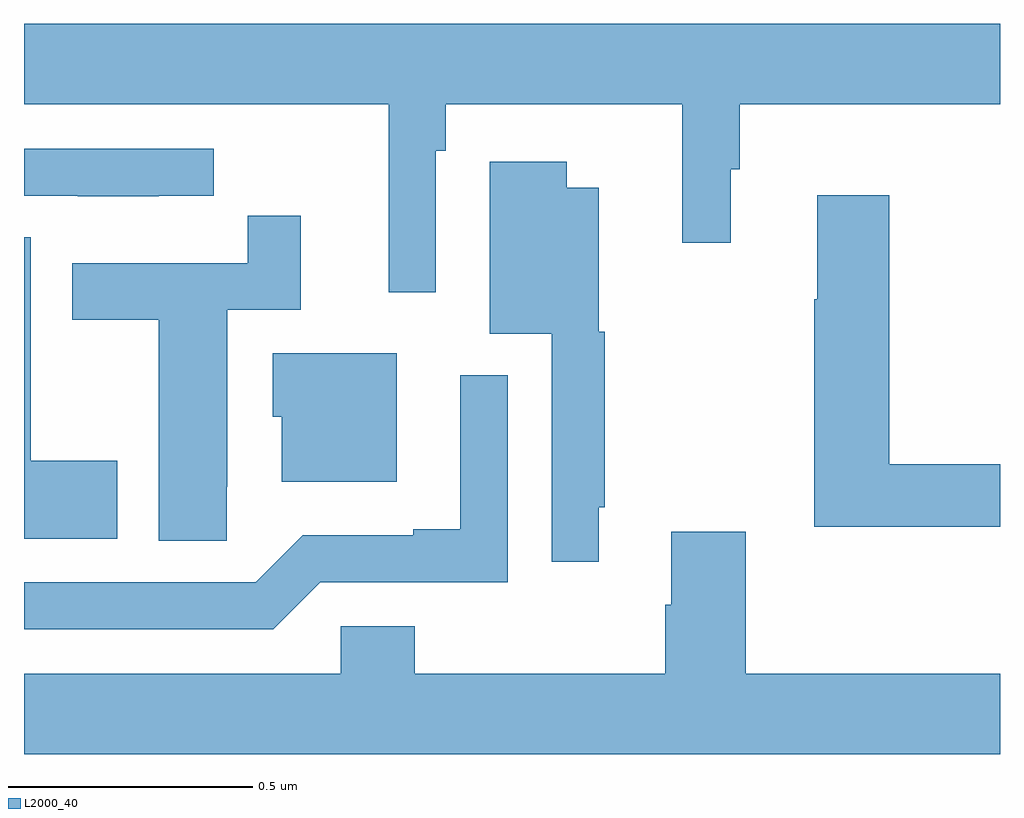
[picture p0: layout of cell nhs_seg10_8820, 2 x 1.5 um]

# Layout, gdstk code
import gdstk
lib = gdstk.Library(unit=1e-6, precision=1e-09)
def P(c, l, *ps):  # polygons
    for p in ps: c.add(gdstk.Polygon(p, *l))
L2000_40 = (2000, 40)

nhs_seg10_8820 = lib.new_cell('nhs_seg10_8820')
P(nhs_seg10_8820, L2000_40, [(221.844,1314.872),(221.864,1314.872),(221.864,1314.968),(222.349,1314.968),(222.349,1314.684),(222.448,1314.684),(222.448,1314.834),(222.467,1314.834),(222.467,1314.968),(223,1314.968),(223,1315.132),(221,1315.132),(221,1314.968),(221.747,1314.968),(221.747,1314.582),(221.844,1314.582)],
  [(221.276,1314.78),(221.389,1314.78),(221.389,1314.876),(221,1314.876),(221,1314.78),(221.11,1314.78),(221.11,1314.779),(221.276,1314.779)],
  [(222.178,1314.142),(222.19,1314.142),(222.19,1314.501),(222.178,1314.501),(222.178,1314.796),(222.112,1314.796),(222.112,1314.85),(221.954,1314.85),(221.954,1314.497),(222.081,1314.497),(222.081,1314.03),(222.178,1314.03)],
  [(223,1314.23),(222.773,1314.23),(222.773,1314.781),(222.626,1314.781),(222.626,1314.568),(222.619,1314.568),(222.619,1314.102),(223,1314.102)],
  [(221.415,1314.184),(221.416,1314.184),(221.416,1314.546),(221.567,1314.546),(221.567,1314.739),(221.458,1314.739),(221.458,1314.642),(221.099,1314.642),(221.099,1314.526),(221.276,1314.526),(221.276,1314.073),(221.415,1314.073)],
  [(221.191,1314.237),(221.014,1314.237),(221.014,1314.695),(221,1314.695),(221,1314.077),(221.191,1314.077)],
  [(221.764,1314.457),(221.51,1314.457),(221.51,1314.327),(221.528,1314.327),(221.528,1314.194),(221.764,1314.194)],
  [(221.607,1313.988),(221.991,1313.988),(221.991,1314.412),(221.894,1314.412),(221.894,1314.097),(221.798,1314.097),(221.798,1314.084),(221.571,1314.084),(221.475,1313.988),(221,1313.988),(221,1313.892),(221.511,1313.892)],
  [(223,1313.8),(222.479,1313.8),(222.479,1314.091),(222.326,1314.091),(222.326,1313.942),(222.314,1313.942),(222.314,1313.8),(221.801,1313.8),(221.801,1313.898),(221.649,1313.898),(221.649,1313.8),(221,1313.8),(221,1313.636),(223,1313.636)])

lib.write_gds('nhs_seg10_8820.gds')
